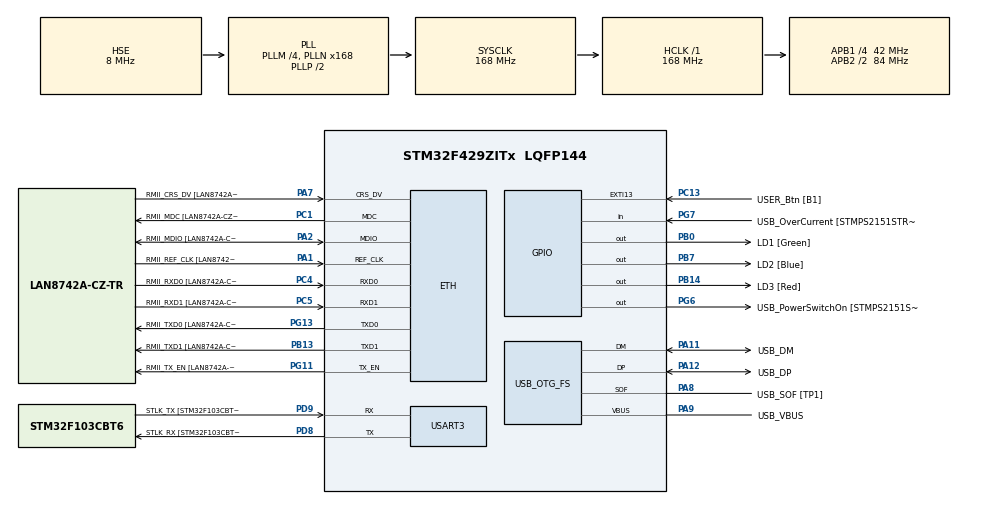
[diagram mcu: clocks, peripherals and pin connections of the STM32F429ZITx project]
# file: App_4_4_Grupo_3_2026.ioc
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ETH.MediaInterface=HAL_ETH_RMII_MODE
ETH.PHY_Name=LAN8742A_PHY_ADDRESS
ETH.PHY_Value=0
ETH.PhyAddress=0
Mcu.Family=STM32F4
Mcu.Name=STM32F429ZITx
Mcu.Package=LQFP144
NVIC.PriorityGroup=NVIC_PRIORITYGROUP_4
PA1.GPIO_Label=RMII_REF_CLK [LAN8742A-CZ-TR_REFCLK0]
PA1.Mode=RMII
PA1.Signal=ETH_REF_CLK
PA10.GPIO_Label=USB_ID
PA10.Signal=USB_OTG_FS_ID
PA11.GPIO_Label=USB_DM
PA11.Mode=Device_Only
PA11.Signal=USB_OTG_FS_DM
PA12.GPIO_Label=USB_DP
PA12.Mode=Device_Only
PA12.Signal=USB_OTG_FS_DP
PA13.GPIO_Label=TMS
PA13.Mode=Serial_Wire
PA13.Signal=SYS_JTMS-SWDIO
PA14.GPIO_Label=TCK
PA14.Mode=Serial_Wire
PA14.Signal=SYS_JTCK-SWCLK
PA2.GPIO_Label=RMII_MDIO [LAN8742A-CZ-TR_MDIO]
PA2.Mode=RMII
PA2.Signal=ETH_MDIO
PA7.GPIO_Label=RMII_CRS_DV [LAN8742A-CZ-TR_CRS_DV]
PA7.Mode=RMII
PA7.Signal=ETH_CRS_DV
PA8.GPIO_Label=USB_SOF [TP1]
PA8.Mode=Activate_SOF_FS
PA8.Signal=USB_OTG_FS_SOF
PA9.GPIO_Label=USB_VBUS
PA9.Mode=Activate_VBUS
PA9.Signal=USB_OTG_FS_VBUS
PB0.GPIO_Label=LD1 [Green]
PB0.Signal=GPIO_Output
PB13.GPIO_Label=RMII_TXD1 [LAN8742A-CZ-TR_TXD1]
PB13.Mode=RMII
PB13.Signal=ETH_TXD1
PB14.GPIO_Label=LD3 [Red]
PB14.Signal=GPIO_Output
PB7.GPIO_Label=LD2 [Blue]
PB7.Signal=GPIO_Output
PC1.GPIO_Label=RMII_MDC [LAN8742A-CZ-TR_MDC]
PC1.Mode=RMII
PC1.Signal=ETH_MDC
PC13.GPIO_Label=USER_Btn [B1]
PC13.Signal=GPXTI13
PC14/OSC32_IN.Mode=LSE-External-Oscillator
PC14/OSC32_IN.Signal=RCC_OSC32_IN
PC15/OSC32_OUT.Mode=LSE-External-Oscillator
PC15/OSC32_OUT.Signal=RCC_OSC32_OUT
PC4.GPIO_Label=RMII_RXD0 [LAN8742A-CZ-TR_RXD0]
PC4.Mode=RMII
PC4.Signal=ETH_RXD0
PC5.GPIO_Label=RMII_RXD1 [LAN8742A-CZ-TR_RXD1]
PC5.Mode=RMII
PC5.Signal=ETH_RXD1
PD8.GPIO_Label=STLK_RX [STM32F103CBT6_PA3]
PD8.Mode=Asynchronous
PD8.Signal=USART3_TX
PD9.GPIO_Label=STLK_TX [STM32F103CBT6_PA2]
PD9.Mode=Asynchronous
PD9.Signal=USART3_RX
PG11.GPIO_Label=RMII_TX_EN [LAN8742A-CZ-TR_TXEN]
PG11.Mode=RMII
PG11.Signal=ETH_TX_EN
PG13.GPIO_Label=RMII_TXD0 [LAN8742A-CZ-TR_TXD0]
PG13.Mode=RMII
PG13.Signal=ETH_TXD0
PG6.GPIO_Label=USB_PowerSwitchOn [STMPS2151STR_EN]
PG6.Signal=GPIO_Output
PG7.GPIO_Label=USB_OverCurrent [STMPS2151STR_FAULT]
PG7.Signal=GPIO_Input
PH0/OSC_IN.GPIO_Label=MCO [STM32F103CBT6_PA8]
PH0/OSC_IN.Mode=HSE-External-Clock-Source
PH0/OSC_IN.Signal=RCC_OSC_IN
PH1/OSC_OUT.Mode=HSE-External-Clock-Source
PH1/OSC_OUT.Signal=RCC_OSC_OUT
ProjectManager.HeapSize=0x200
ProjectManager.StackSize=0x400
ProjectManager.TargetToolchain=STM32CubeIDE
RCC.48MHZClocksFreq_Value=48000000
RCC.AHBFreq_Value=168000000
RCC.APB1CLKDivider=RCC_HCLK_DIV4
RCC.APB1Freq_Value=42000000
RCC.APB1TimFreq_Value=84000000
RCC.APB2CLKDivider=RCC_HCLK_DIV2
RCC.APB2Freq_Value=84000000
RCC.APB2TimCLKDivider=2
RCC.APB2TimFreq_Value=168000000
RCC.CortexFreq_Value=168000000
RCC.HCLKFreq_Value=168000000
RCC.HSE_VALUE=8000000
RCC.HSI_VALUE=16000000
RCC.PLLM=4
RCC.PLLMUL=RCC_PLL_MUL9
RCC.PLLN=168
RCC.PLLQ=7
RCC.PRESCALERUSB=RCC_USBCLKSOURCE_PLL_DIV1_5
RCC.SYSCLKFreq_VALUE=168000000
RCC.SYSCLKSource=RCC_SYSCLKSOURCE_PLLCLK
RCC.SYSCLKSourceVirtual=RCC_SYSCLKSOURCE_PLLCLK
RCC.USBFreq_Value=48000000
RCC.VCOOutputFreq_Value=336000000
USART3.VirtualMode=VM_ASYNC
USB_OTG_FS.VirtualMode=Device_Only
board=NUCLEO-F429ZI

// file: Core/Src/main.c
/* USER CODE BEGIN Header */
/**
  ******************************************************************************
  * @file           : main.c
  * @brief          : Main program body
  ******************************************************************************
  * App_4_4_Grupo_3_2026 - AFP4 - Retardos no bloqueantes (API_delay)
  *
  * Aplicacion (refactor de App_3_4 a no bloqueante): los tres leds onboard
  * parpadean simultaneamente. El pulsador de usuario cambia la frecuencia de
  * parpadeo de manera secuencial entre cuatro tiempos de alternancia:
  * 100 ms -> 250 ms -> 500 ms -> 1000 ms -> vuelve a 100 ms.
  * El cambio de tiempo se realiza con delayWrite() sin reiniciar el driver.
  * Se reemplaza HAL_Delay() por el driver de retardos no bloqueantes API_delay.
  * La gestion del modulo GPIO se realiza exclusivamente con el driver API_GPIO.
  ******************************************************************************
  * @attention
  *
  * Copyright (c) 2026 STMicroelectronics.
  * All rights reserved.
  *
  * This software is licensed under terms that can be found in the LICENSE file
  * in the root directory of this software component.
  * If no LICENSE file comes with this software, it is provided AS-IS.
  *
  ******************************************************************************
  */
/* USER CODE END Header */
#include "main.h"
#include "string.h"
#include "API_GPIO.h"
#include "API_delay.h"

/* USER CODE BEGIN PD */
#define LED_COUNT		3		/* Cantidad de leds del vector */
#define TIEMPO_COUNT	4		/* Cantidad de tiempos de alternancia predefinidos */
/* USER CODE END PD */

ETH_TxPacketConfig TxConfig;
ETH_DMADescTypeDef  DMARxDscrTab[ETH_RX_DESC_CNT]; /* Ethernet Rx DMA Descriptors */
ETH_DMADescTypeDef  DMATxDscrTab[ETH_TX_DESC_CNT]; /* Ethernet Tx DMA Descriptors */

ETH_HandleTypeDef heth;

UART_HandleTypeDef huart3;

PCD_HandleTypeDef hpcd_USB_OTG_FS;

/* USER CODE BEGIN PV */
/* Vector de leds de la placa: con este formato la app queda general y puede
 * extenderse a mas leds con minimas modificaciones (solo agregar elementos) */
led_t leds[LED_COUNT] = {
	{LD1_GPIO_Port, LD1_Pin},
	{LD2_GPIO_Port, LD2_Pin},
	{LD3_GPIO_Port, LD3_Pin}
};

const button_t userButton = {USER_Btn_GPIO_Port, USER_Btn_Pin};

/* Tiempos de alternancia predefinidos [ms]: la aplicacion inicia en tiempo 1 */
const tick_t tiempos[TIEMPO_COUNT] = {100, 250, 500, 1000};

delay_t delayParpadeo;				/* Retardo no bloqueante del parpadeo */
buttonStatus_t botonAnterior = false;	/* Estado anterior del pulsador (para flanco) */
uint8_t idxTiempo = 0;					/* Indice del tiempo de alternancia activo */
/* USER CODE END PV */

void SystemClock_Config(void);
/* El prototipo de MX_GPIO_Init() paso al driver: ver API_GPIO.h */
static void MX_ETH_Init(void);
static void MX_USART3_UART_Init(void);
static void MX_USB_OTG_FS_PCD_Init(void);

int main(void)
{

  /* MCU Configuration--------------------------------------------------------*/

  /* Reset of all peripherals, Initializes the Flash interface and the Systick. */
  HAL_Init();

  /* Configure the system clock */
  SystemClock_Config();

  /* Initialize all configured peripherals */
  MX_GPIO_Init();
  MX_ETH_Init();
  MX_USART3_UART_Init();
  MX_USB_OTG_FS_PCD_Init();
  /* USER CODE BEGIN 2 */
  delayInit(&delayParpadeo, tiempos[0]);
  /* USER CODE END 2 */

  /* Infinite loop */
  /* USER CODE BEGIN WHILE */
  while (1)
  {
	  /* Lectura del pulsador en cada iteracion: respuesta inmediata */
	  buttonStatus_t actual = readButton_GPIO(userButton);
	  if (actual && !botonAnterior)
	  {
		  idxTiempo = (idxTiempo + 1) % TIEMPO_COUNT;
		  delayWrite(&delayParpadeo, tiempos[idxTiempo]);	/* Cambia la duracion */
	  }
	  botonAnterior = actual;

	  /* Cuando el retardo se cumple, los 3 leds cambian de estado juntos */
	  if (delayRead(&delayParpadeo))
	  {
		  for (uint8_t i = 0; i < LED_COUNT; i++)
		  {
			  toggleLed_GPIO(leds[i]);
		  }
	  }
    /* USER CODE END WHILE */

  }
}

void SystemClock_Config(void)
{
  RCC_OscInitTypeDef RCC_OscInitStruct = {0};
  RCC_ClkInitTypeDef RCC_ClkInitStruct = {0};

  /** Configure the main internal regulator output voltage
  */
  __HAL_RCC_PWR_CLK_ENABLE();
  __HAL_PWR_VOLTAGESCALING_CONFIG(PWR_REGULATOR_VOLTAGE_SCALE1);

  /** Initializes the RCC Oscillators according to the specified parameters
  * in the RCC_OscInitTypeDef structure.
  */
  RCC_OscInitStruct.OscillatorType = RCC_OSCILLATORTYPE_HSE;
  RCC_OscInitStruct.HSEState = RCC_HSE_BYPASS;
  RCC_OscInitStruct.PLL.PLLState = RCC_PLL_ON;
  RCC_OscInitStruct.PLL.PLLSource = RCC_PLLSOURCE_HSE;
  RCC_OscInitStruct.PLL.PLLM = 4;
  RCC_OscInitStruct.PLL.PLLN = 168;
  RCC_OscInitStruct.PLL.PLLP = RCC_PLLP_DIV2;
  RCC_OscInitStruct.PLL.PLLQ = 7;
  if (HAL_RCC_OscConfig(&RCC_OscInitStruct) != HAL_OK)
  {
    Error_Handler();
  }

  /** Initializes the CPU, AHB and APB buses clocks
  */
  RCC_ClkInitStruct.ClockType = RCC_CLOCKTYPE_HCLK|RCC_CLOCKTYPE_SYSCLK
                              |RCC_CLOCKTYPE_PCLK1|RCC_CLOCKTYPE_PCLK2;
  RCC_ClkInitStruct.SYSCLKSource = RCC_SYSCLKSOURCE_PLLCLK;
  RCC_ClkInitStruct.AHBCLKDivider = RCC_SYSCLK_DIV1;
  RCC_ClkInitStruct.APB1CLKDivider = RCC_HCLK_DIV4;
  RCC_ClkInitStruct.APB2CLKDivider = RCC_HCLK_DIV2;

  if (HAL_RCC_ClockConfig(&RCC_ClkInitStruct, FLASH_LATENCY_5) != HAL_OK)
  {
    Error_Handler();
  }
}

static void MX_ETH_Init(void)
{

   static uint8_t MACAddr[6];

  heth.Instance = ETH;
  MACAddr[0] = 0x00;
  MACAddr[1] = 0x80;
  MACAddr[2] = 0xE1;
  MACAddr[3] = 0x00;
  MACAddr[4] = 0x00;
  MACAddr[5] = 0x00;
  heth.Init.MACAddr = &MACAddr[0];
  heth.Init.MediaInterface = HAL_ETH_RMII_MODE;
  heth.Init.TxDesc = DMATxDscrTab;
  heth.Init.RxDesc = DMARxDscrTab;
  heth.Init.RxBuffLen = 1524;

  if (HAL_ETH_Init(&heth) != HAL_OK)
  {
    Error_Handler();
  }

  memset(&TxConfig, 0 , sizeof(ETH_TxPacketConfig));
  TxConfig.Attributes = ETH_TX_PACKETS_FEATURES_CSUM | ETH_TX_PACKETS_FEATURES_CRCPAD;
  TxConfig.ChecksumCtrl = ETH_CHECKSUM_IPHDR_PAYLOAD_INSERT_PHDR_CALC;
  TxConfig.CRCPadCtrl = ETH_CRC_PAD_INSERT;

}

static void MX_USART3_UART_Init(void)
{

  huart3.Instance = USART3;
  huart3.Init.BaudRate = 115200;
  huart3.Init.WordLength = UART_WORDLENGTH_8B;
  huart3.Init.StopBits = UART_STOPBITS_1;
  huart3.Init.Parity = UART_PARITY_NONE;
  huart3.Init.Mode = UART_MODE_TX_RX;
  huart3.Init.HwFlowCtl = UART_HWCONTROL_NONE;
  huart3.Init.OverSampling = UART_OVERSAMPLING_16;
  if (HAL_UART_Init(&huart3) != HAL_OK)
  {
    Error_Handler();
  }

}

static void MX_USB_OTG_FS_PCD_Init(void)
{

  hpcd_USB_OTG_FS.Instance = USB_OTG_FS;
  hpcd_USB_OTG_FS.Init.dev_endpoints = 4;
  hpcd_USB_OTG_FS.Init.speed = PCD_SPEED_FULL;
  hpcd_USB_OTG_FS.Init.dma_enable = DISABLE;
  hpcd_USB_OTG_FS.Init.phy_itface = PCD_PHY_EMBEDDED;
  hpcd_USB_OTG_FS.Init.Sof_enable = ENABLE;
  hpcd_USB_OTG_FS.Init.low_power_enable = DISABLE;
  hpcd_USB_OTG_FS.Init.lpm_enable = DISABLE;
  hpcd_USB_OTG_FS.Init.vbus_sensing_enable = ENABLE;
  hpcd_USB_OTG_FS.Init.use_dedicated_ep1 = DISABLE;
  if (HAL_PCD_Init(&hpcd_USB_OTG_FS) != HAL_OK)
  {
    Error_Handler();
  }

}

void Error_Handler(void)
{
  __disable_irq();
  while (1)
  {
  }
}
